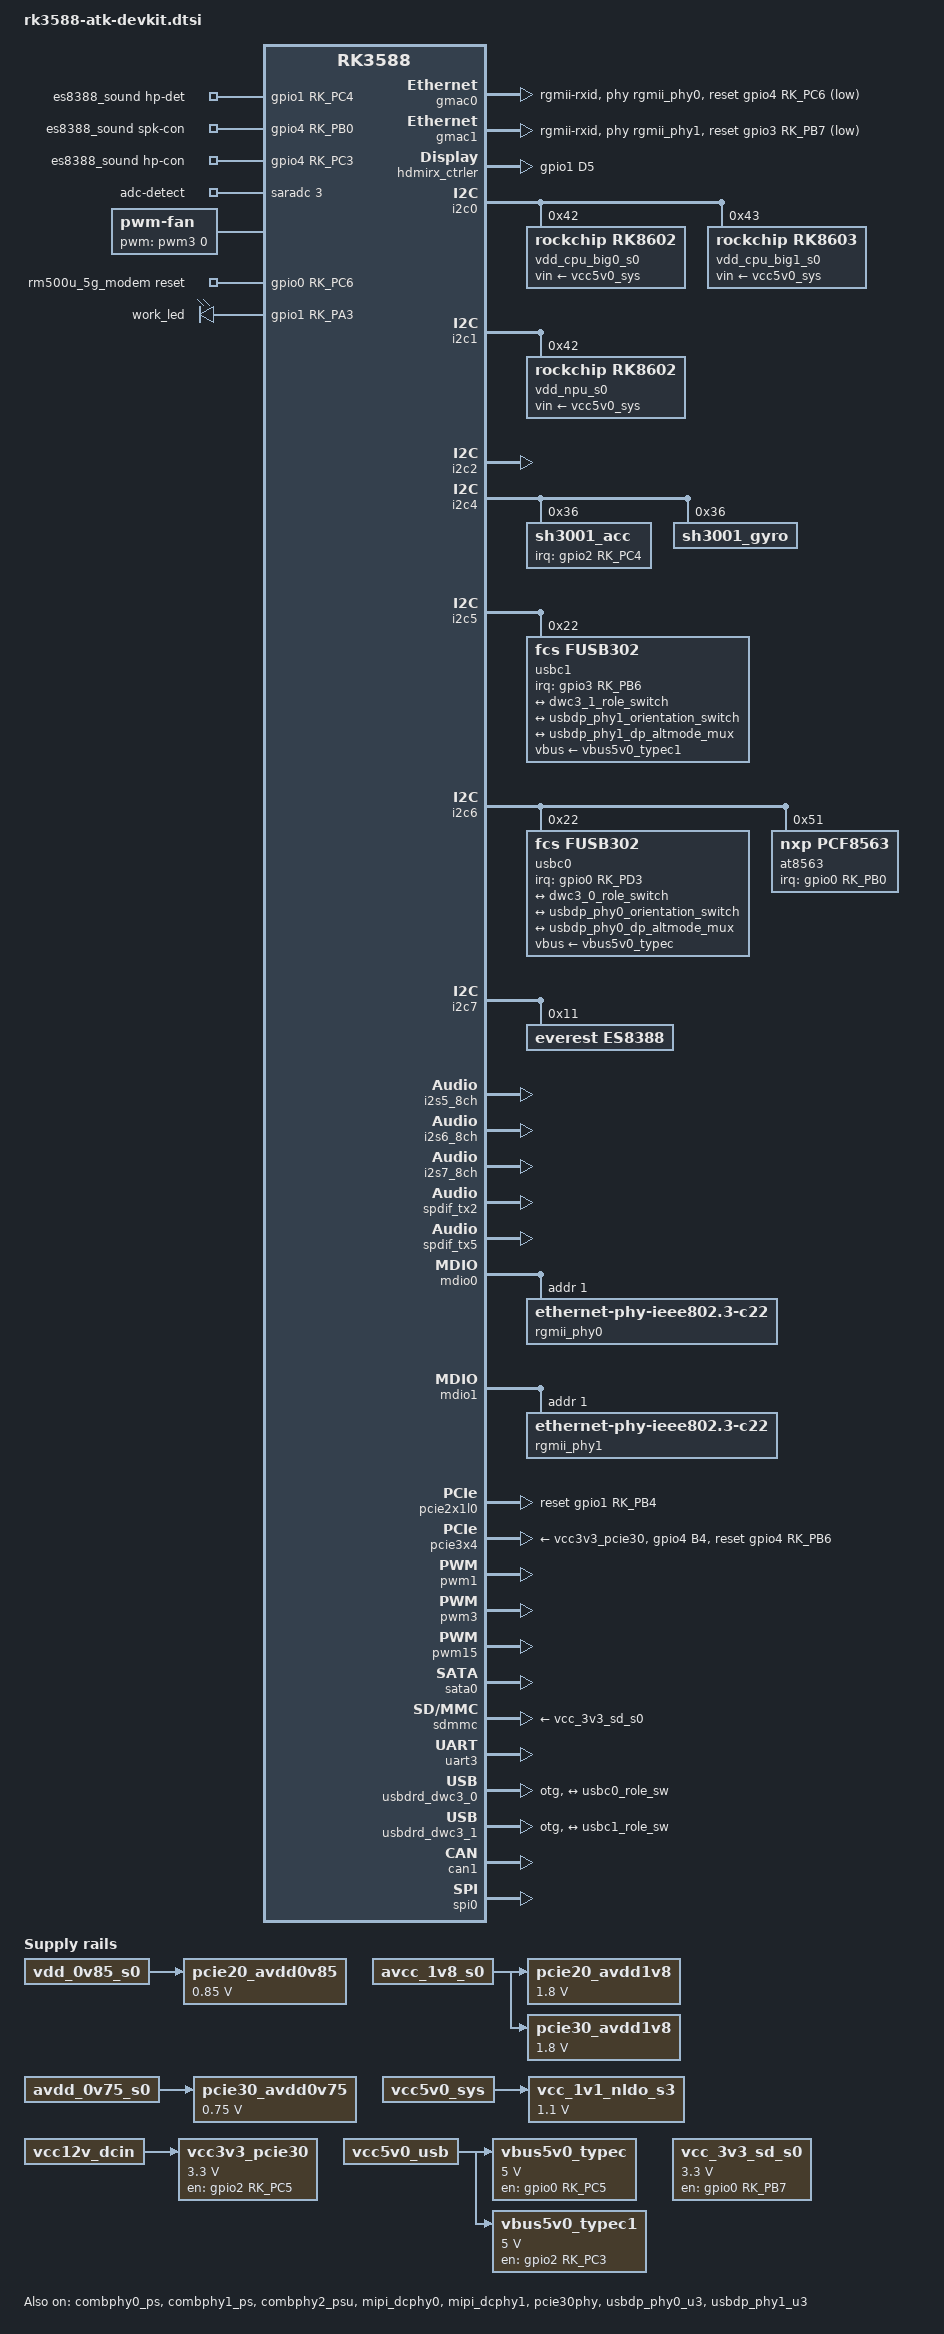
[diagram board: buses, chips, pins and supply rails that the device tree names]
// SPDX-License-Identifier: (GPL-2.0+ OR MIT)
/*
 * Copyright (c) 2021 Rockchip Electronics Co., Ltd.
 *
 */

#include "dt-bindings/usb/pd.h"
#include "rk3588.dtsi"
#include "rk3588-evb.dtsi"
#include "rk3588-rk806-single.dtsi"

/ {
	aliases {
		can0 = &can1;
		can1 = &mcp2515;
	};

	/* If hdmirx node is disabled, delete the reserved-memory node here. */
	reserved-memory {
		#address-cells = <2>;
		#size-cells = <2>;
		ranges;

		/* Reserve 128MB memory for hdmirx-controller@fdee0000 */
		cma {
			compatible = "shared-dma-pool";
			reusable;
			reg = <0x0 (256 * 0x100000) 0x0 (128 * 0x100000)>;
			linux,cma-default;
		};
	};

	es8388_sound: es8388-sound {
		status = "okay";
		compatible = "rockchip,multicodecs-card";
		rockchip,card-name = "rockchip-es8388";
		hp-det-gpio = <&gpio1 RK_PC4 GPIO_ACTIVE_HIGH>;
		io-channels = <&saradc 3>;
		io-channel-names = "adc-detect";
		keyup-threshold-microvolt = <1800000>;
		poll-interval = <100>;
		spk-con-gpio = <&gpio4 RK_PB0 GPIO_ACTIVE_HIGH>;
		hp-con-gpio = <&gpio4 RK_PC3 GPIO_ACTIVE_HIGH>;
		rockchip,format = "i2s";
		rockchip,mclk-fs = <256>;
		rockchip,cpu = <&i2s0_8ch>;
		rockchip,codec = <&es8388>;
		rockchip,audio-routing =
			"Headphone", "LOUT1",
			"Headphone", "ROUT1",
			"Speaker", "LOUT2",
			"Speaker", "ROUT2",
			"Headphone", "Headphone Power",
			"Headphone", "Headphone Power",
			"Speaker", "Speaker Power",
			"Speaker", "Speaker Power",
			"LINPUT1", "Main Mic",
			"LINPUT2", "Main Mic",
			"RINPUT1", "Headset Mic",
			"RINPUT2", "Headset Mic";
		pinctrl-names = "default";
		pinctrl-0 = <&hp_det>;
		play-pause-key {
			label = "playpause";
			linux,code = <KEY_PLAYPAUSE>;
			press-threshold-microvolt = <2000>;
		};
	};

	fan: pwm-fan {
		compatible = "pwm-fan";
		#cooling-cells = <2>;
		pwms = <&pwm3 0 50000 0>;
		cooling-levels = <
			0 50 100 120 150 170 180 200
			205 210 215 220 225 230 235 240
			245 250 251 252 253 254 255
		>;

		rockchip,temp-trips = <
			32000	1
			34000	2
			36000	3
			38000	4
			40000	5
			42000	6
			44000	7
			46000	8
			48000	9
			50000	10
			52000	11
			54000	12
			56000	13
			58000	14
			60000	15
			62000	16
			64000	17
			66000	18
			68000	19
			70000	20
		>;
	};

	hdmiin-sound {
		compatible = "rockchip,hdmi";
		rockchip,mclk-fs = <128>;
		rockchip,format = "i2s";
		rockchip,bitclock-master = <&hdmirx_ctrler>;
		rockchip,frame-master = <&hdmirx_ctrler>;
		rockchip,card-name = "rockchip,hdmiin";
		rockchip,cpu = <&i2s7_8ch>;
		rockchip,codec = <&hdmirx_ctrler 0>;
		rockchip,jack-det;
	};

	pcie20_avdd0v85: pcie20-avdd0v85 {
		compatible = "regulator-fixed";
		regulator-name = "pcie20_avdd0v85";
		regulator-boot-on;
		regulator-always-on;
		regulator-min-microvolt = <850000>;
		regulator-max-microvolt = <850000>;
		vin-supply = <&vdd_0v85_s0>;
	};

	pcie20_avdd1v8: pcie20-avdd1v8 {
		compatible = "regulator-fixed";
		regulator-name = "pcie20_avdd1v8";
		regulator-boot-on;
		regulator-always-on;
		regulator-min-microvolt = <1800000>;
		regulator-max-microvolt = <1800000>;
		vin-supply = <&avcc_1v8_s0>;
	};

	pcie30_avdd0v75: pcie30-avdd0v75 {
		compatible = "regulator-fixed";
		regulator-name = "pcie30_avdd0v75";
		regulator-boot-on;
		regulator-always-on;
		regulator-min-microvolt = <750000>;
		regulator-max-microvolt = <750000>;
		vin-supply = <&avdd_0v75_s0>;
	};

	pcie30_avdd1v8: pcie30-avdd1v8 {
		compatible = "regulator-fixed";
		regulator-name = "pcie30_avdd1v8";
		regulator-boot-on;
		regulator-always-on;
		regulator-min-microvolt = <1800000>;
		regulator-max-microvolt = <1800000>;
		vin-supply = <&avcc_1v8_s0>;
	};

	rk_headset: rk-headset {
		status = "disabled";
		compatible = "rockchip_headset";
		headset_gpio = <&gpio1 RK_PD5 GPIO_ACTIVE_LOW>;
		pinctrl-names = "default";
		pinctrl-0 = <&hp_det>;
		io-channels = <&saradc 3>;
	};


	vcc_1v1_nldo_s3: vcc-1v1-nldo-s3 {
		compatible = "regulator-fixed";
		regulator-name = "vcc_1v1_nldo_s3";
		regulator-always-on;
		regulator-boot-on;
		regulator-min-microvolt = <1100000>;
		regulator-max-microvolt = <1100000>;
		vin-supply = <&vcc5v0_sys>;
	};

	vcc3v3_pcie30: vcc3v3-pcie30 {
		compatible = "regulator-fixed";
		regulator-name = "vcc3v3_pcie30";
		regulator-min-microvolt = <3300000>;
		regulator-max-microvolt = <3300000>;
		enable-active-high;
		gpios = <&gpio2 RK_PC5 GPIO_ACTIVE_HIGH>;
		startup-delay-us = <5000>;
		vin-supply = <&vcc12v_dcin>;
	};

	vbus5v0_typec: vbus5v0-typec {
		compatible = "regulator-fixed";
		regulator-name = "vbus5v0_typec";
		regulator-min-microvolt = <5000000>;
		regulator-max-microvolt = <5000000>;
		enable-active-high;
		gpio = <&gpio0 RK_PC5 GPIO_ACTIVE_HIGH>;
		vin-supply = <&vcc5v0_usb>;
		pinctrl-names = "default";
		pinctrl-0 = <&typec5v_pwren>;
	};

	vbus5v0_typec1: vbus5v0-typec1 {
		compatible = "regulator-fixed";
		regulator-name = "vbus5v0_typec1";
		regulator-min-microvolt = <5000000>;
		regulator-max-microvolt = <5000000>;
		enable-active-high;
		gpio = <&gpio2 RK_PC3 GPIO_ACTIVE_HIGH>;
		vin-supply = <&vcc5v0_usb>;
		pinctrl-names = "default";
		pinctrl-0 = <&typec5v_pwren1>;
	};

	vcc_3v3_sd_s0: vcc-3v3-sd-s0-regulator {
		compatible = "regulator-fixed";
		gpio = <&gpio0 RK_PB7 GPIO_ACTIVE_HIGH>;
		pinctrl-names = "default";
		pinctrl-0 = <&sd_s0_pwr>;
		regulator-min-microvolt = <3300000>;
		regulator-max-microvolt = <3300000>;
		regulator-name = "vcc_3v3_sd_s0";
		enable-active-high;
	};

	wireless_bluetooth: wireless-bluetooth {
		compatible = "bluetooth-platdata";
		status = "okay";
	};

	wireless_wlan: wireless-wlan {
		compatible = "wlan-platdata";
		wifi_chip_type = "rtl8733bu";
		status = "okay";
		pinctrl-names = "default";
		pinctrl-0 = <&pcie_wifi_gpio>;
	};

	rm500u_5g_modem: rm500u-modem {
		compatible = "4g-modem-platdata";
		pinctrl-names = "default";
		pinctrl-0 = <&rm500u_5g_rst>;
		//4G,vbat-gpio
		//4G,power-gpio
		4G,reset-gpio = <&gpio0 RK_PC6 GPIO_ACTIVE_HIGH>;
		status = "okay";
	};

	mcp2515_clk: mcp2515-clk {
		compatible = "fixed-clock";
		#clock-cells = <0>;
		clock-frequency = <8000000>;
	};
};

&combphy0_ps {
	status = "okay";
};

&combphy1_ps {
	status = "okay";
};

&combphy2_psu {
	status = "okay";
};

&gmac0 {
	/* Use rgmii-rxid mode to disable rx delay inside Soc */
	phy-mode = "rgmii-rxid";
	clock_in_out = "output";

	snps,reset-gpio = <&gpio4 RK_PC6 GPIO_ACTIVE_LOW>;
	snps,reset-active-low;
	/* Reset time is 20ms, 100ms for rtl8211f */
	snps,reset-delays-us = <0 20000 100000>;

	pinctrl-names = "default";
	pinctrl-0 = <&gmac0_miim
		     &gmac0_tx_bus2
		     &gmac0_rx_bus2
		     &gmac0_rgmii_clk
		     &gmac0_rgmii_bus>;

	tx_delay = <0x43>;
	/* rx_delay = <0x3f>; */

	phy-handle = <&rgmii_phy0>;
	status = "okay";
};

&gmac1 {
	/* Use rgmii-rxid mode to disable rx delay inside Soc */
	phy-mode = "rgmii-rxid";
	clock_in_out = "output";

	snps,reset-gpio = <&gpio3 RK_PB7 GPIO_ACTIVE_LOW>;
	snps,reset-active-low;
	/* Reset time is 20ms, 100ms for rtl8211f */
	snps,reset-delays-us = <0 20000 100000>;

	pinctrl-names = "default";
	pinctrl-0 = <&gmac1_miim
		     &gmac1_tx_bus2
		     &gmac1_rx_bus2
		     &gmac1_rgmii_clk
		     &gmac1_rgmii_bus>;

	tx_delay = <0x43>;
	/* rx_delay = <0x3f>; */

	phy-handle = <&rgmii_phy1>;
	status = "okay";
};

/* Should work with at least 128MB cma reserved above. */
&hdmirx_ctrler {
	status = "okay";

	#sound-dai-cells = <1>;
	/* Effective level used to trigger HPD: 0-low, 1-high */
	hpd-trigger-level = <1>;
	hdmirx-det-gpios = <&gpio1 RK_PD5 GPIO_ACTIVE_LOW>;
	pinctrl-names = "default";
	pinctrl-0 = <&hdmim1_rx &hdmirx_det>;
};

&i2c0 {
	status = "okay";
	pinctrl-names = "default";
	pinctrl-0 = <&i2c0m2_xfer>;

	vdd_cpu_big0_s0: vdd_cpu_big0_mem_s0: rk8602@42 {
		compatible = "rockchip,rk8602";
		reg = <0x42>;
		vin-supply = <&vcc5v0_sys>;
		regulator-compatible = "rk860x-reg";
		regulator-name = "vdd_cpu_big0_s0";
		regulator-min-microvolt = <550000>;
		regulator-max-microvolt = <1050000>;
		regulator-ramp-delay = <2300>;
		rockchip,suspend-voltage-selector = <1>;
		regulator-boot-on;
		regulator-always-on;
		regulator-state-mem {
			regulator-off-in-suspend;
		};
	};

	vdd_cpu_big1_s0: vdd_cpu_big1_mem_s0: rk8603@43 {
		compatible = "rockchip,rk8603";
		reg = <0x43>;
		vin-supply = <&vcc5v0_sys>;
		regulator-compatible = "rk860x-reg";
		regulator-name = "vdd_cpu_big1_s0";
		regulator-min-microvolt = <550000>;
		regulator-max-microvolt = <1050000>;
		regulator-ramp-delay = <2300>;
		rockchip,suspend-voltage-selector = <1>;
		regulator-boot-on;
		regulator-always-on;
		regulator-state-mem {
			regulator-off-in-suspend;
		};
	};
};

&i2c1 {
	status = "okay";
	pinctrl-names = "default";
	pinctrl-0 = <&i2c1m2_xfer>;

	vdd_npu_s0: vdd_npu_mem_s0: rk8602@42 {
		compatible = "rockchip,rk8602";
		reg = <0x42>;
		vin-supply = <&vcc5v0_sys>;
		regulator-compatible = "rk860x-reg";
		regulator-name = "vdd_npu_s0";
		regulator-min-microvolt = <550000>;
		regulator-max-microvolt = <950000>;
		regulator-ramp-delay = <2300>;
		rockchip,suspend-voltage-selector = <1>;
		regulator-boot-on;
		regulator-always-on;
		regulator-state-mem {
			regulator-off-in-suspend;
		};
	};
};

&i2c2 {
	status = "okay";
	pinctrl-0 = <&i2c2m4_xfer>;
};

&i2c4 {
	status = "okay";
	pinctrl-0 = <&i2c4m1_xfer>;

	sh3001_acc@36 {
		compatible = "sh3001_acc";
		reg = <0x36>;
		type = <SENSOR_TYPE_ACCEL>;
		pinctrl-names = "default";
		pinctrl-0 = <&sh3001_irq_gpio>;
		irq-gpio = <&gpio2 RK_PC4 IRQ_TYPE_LEVEL_HIGH>;
		irq_enable = <0>;
		poll_delay_ms = <30>;
		layout = <2>;
		status = "okay";
	};

	sh3001_gyro@36 {
		compatible = "sh3001_gyro";
		reg = <0x36>;
		type = <SENSOR_TYPE_GYROSCOPE>;
		//pinctrl-names = "default";
		//pinctrl-0 = <&sh3001_irq_gpio>;
		//irq-gpio = <&gpio2 RK_PC4 IRQ_TYPE_LEVEL_HIGH>;
		irq_enable = <0>;       //Must be set to 0, disable interrupt
		poll_delay_ms = <30>;
		layout = <1>;
		status = "okay";
	};
};

&i2c5 {
	status = "okay";

	usbc1: fusb302@22 {
		compatible = "fcs,fusb302";
		reg = <0x22>;
		interrupt-parent = <&gpio3>;
		interrupts = <RK_PB6 IRQ_TYPE_LEVEL_LOW>;
		pinctrl-names = "default";
		pinctrl-0 = <&usbc1_int>;
		vbus-supply = <&vbus5v0_typec1>;
		status = "okay";

		ports {
			#address-cells = <1>;
			#size-cells = <0>;

			port@0 {
				reg = <0>;
				usbc1_role_sw: endpoint@0 {
					remote-endpoint = <&dwc3_1_role_switch>;
				};
			};
		};

		connector {
			compatible = "usb-c-connector";
			label = "USB-C";
			data-role = "dual";
			power-role = "dual";
			try-power-role = "sink";
			op-sink-microwatt = <1000000>;
			sink-pdos =
				<PDO_FIXED(5000, 1000, PDO_FIXED_USB_COMM)>;
			source-pdos =
				<PDO_FIXED(5000, 3000, PDO_FIXED_USB_COMM)>;

			altmodes {
				#address-cells = <1>;
				#size-cells = <0>;

				altmode@0 {
					reg = <0>;
					svid = <0xff01>;
					vdo = <0xffffffff>;
				};
			};

			ports {
				#address-cells = <1>;
				#size-cells = <0>;

				port@0 {
					reg = <0>;
					usbc1_orien_sw: endpoint {
						remote-endpoint = <&usbdp_phy1_orientation_switch>;
					};
				};

				port@1 {
					reg = <1>;
					dp1_altmode_mux: endpoint {
						remote-endpoint = <&usbdp_phy1_dp_altmode_mux>;
					};
				};
			};
		};
	};
};

&i2c6 {
	status = "okay";

	usbc0: fusb302@22 {
		compatible = "fcs,fusb302";
		reg = <0x22>;
		interrupt-parent = <&gpio0>;
		interrupts = <RK_PD3 IRQ_TYPE_LEVEL_LOW>;
		pinctrl-names = "default";
		pinctrl-0 = <&usbc0_int>;
		vbus-supply = <&vbus5v0_typec>;
		status = "okay";

		ports {
			#address-cells = <1>;
			#size-cells = <0>;

			port@0 {
				reg = <0>;
				usbc0_role_sw: endpoint@0 {
					remote-endpoint = <&dwc3_0_role_switch>;
				};
			};
		};

		usb_con: connector {
			compatible = "usb-c-connector";
			label = "USB-C";
			data-role = "dual";
			power-role = "dual";
			try-power-role = "sink";
			op-sink-microwatt = <1000000>;
			sink-pdos =
				<PDO_FIXED(5000, 1000, PDO_FIXED_USB_COMM)>;
			source-pdos =
				<PDO_FIXED(5000, 3000, PDO_FIXED_USB_COMM)>;

			altmodes {
				#address-cells = <1>;
				#size-cells = <0>;

				altmode@0 {
					reg = <0>;
					svid = <0xff01>;
					vdo = <0xffffffff>;
				};
			};

			ports {
				#address-cells = <1>;
				#size-cells = <0>;

				port@0 {
					reg = <0>;
					usbc0_orien_sw: endpoint {
						remote-endpoint = <&usbdp_phy0_orientation_switch>;
					};
				};

				port@1 {
					reg = <1>;
					dp_altmode_mux: endpoint {
						remote-endpoint = <&usbdp_phy0_dp_altmode_mux>;
					};
				};
			};
		};
	};

	at8563: rtc@51 {
		compatible = "nxp,pcf8563";
		reg = <0x51>;
		pinctrl-names = "default";
		pinctrl-0 = <&at8563_int>;
		interrupt-parent = <&gpio0>;
		interrupts = <RK_PB0 IRQ_TYPE_LEVEL_LOW>;
		#clock-cells = <0>;
	};
};

&i2c7 {
	status = "okay";
	es8388: es8388@11 {
		status = "okay";
		#sound-dai-cells = <0>;
		compatible = "everest,es8388", "everest,es8323";
		reg = <0x11>;
		clocks = <&mclkout_i2s0>;
		clock-names = "mclk";
		assigned-clocks = <&mclkout_i2s0>;
		assigned-clock-rates = <12288000>;
		pinctrl-names = "default";
		pinctrl-0 = <&i2s0_mclk>;
	};
};

&i2s5_8ch {
	status = "okay";
};

&i2s6_8ch {
	status = "okay";
};

&i2s7_8ch {
	status = "okay";
};

&spdif_tx2 {
	status = "okay";
};

&spdif_tx5 {
	status = "okay";
};

&mdio0 {
	rgmii_phy0: phy@1 {
		compatible = "ethernet-phy-ieee802.3-c22";
		reg = <0x1>;
	};
};

&mdio1 {
	rgmii_phy1: phy@1 {
		compatible = "ethernet-phy-ieee802.3-c22";
		reg = <0x1>;
	};
};

&mipi_dcphy0 {
	status = "okay";
};

&mipi_dcphy1 {
	status = "okay";
};

&pcie2x1l0 {
	reset-gpios = <&gpio1 RK_PB4 GPIO_ACTIVE_HIGH>;
	status = "okay";
};

&pcie30phy {
	rockchip,pcie30-phymode = <PHY_MODE_PCIE_AGGREGATION>;
	status = "okay";
};

&pcie3x4 {
	reset-gpios = <&gpio4 RK_PB6 GPIO_ACTIVE_HIGH>;
	vpcie3v3-supply = <&vcc3v3_pcie30>;
	pinctrl-names = "default";
	pinctrl-0 = <&pcie30x4_clkreqn_m1>;
	status = "okay";
};

&pinctrl {
	hdmi {
		hdmirx_det: hdmirx-det {
			rockchip,pins = <1 RK_PD5 RK_FUNC_GPIO &pcfg_pull_up>;
		};
	};

	headphone {
		hp_det: hp-det {
			rockchip,pins =
				<1 RK_PC4 RK_FUNC_GPIO &pcfg_pull_none>,
				<4 RK_PB0 RK_FUNC_GPIO &pcfg_pull_down>,
				<4 RK_PC3 RK_FUNC_GPIO &pcfg_pull_down>;
		};
	};

	at8563 {
		at8563_int: at8563-int {
			rockchip,pins = <0 RK_PB0 RK_FUNC_GPIO &pcfg_pull_up>;
		};
	};

	sdmmc {
		sd_s0_pwr: sd-s0-pwr {
			rockchip,pins = <0 RK_PB7 RK_FUNC_GPIO &pcfg_pull_up>;
		};
	};

	/*
	wireless-bluetooth {
		uart9_gpios: uart9-gpios {
			rockchip,pins = <4 RK_PC4 RK_FUNC_GPIO &pcfg_pull_none>;
		};

		bt_reset_gpio: bt-reset-gpio {
			rockchip,pins = <0 RK_PC6 RK_FUNC_GPIO &pcfg_pull_none>;
		};

		bt_wake_gpio: bt-wake-gpio {
			rockchip,pins = <0 RK_PC5 RK_FUNC_GPIO &pcfg_pull_none>;
		};

		bt_irq_gpio: bt-irq-gpio {
			rockchip,pins = <0 RK_PA0 RK_FUNC_GPIO &pcfg_pull_none>;
		};
	};

	wireless-wlan {
		wifi_host_wake_irq: wifi-host-wake-irq {
			rockchip,pins = <0 RK_PB2 RK_FUNC_GPIO &pcfg_pull_down>;
		};
	};
	*/

	wireless-wlan {
		pcie_wifi_gpio: pcie-wifi-gpio {
			rockchip,pins =
				<0 RK_PA0 RK_FUNC_GPIO &pcfg_pull_up>,
				<0 RK_PB2 RK_FUNC_GPIO &pcfg_pull_up>;
		};
	};

	leds {
		work_leds_gpio: work-leds-gpio {
			rockchip,pins = <1 RK_PA3 RK_FUNC_GPIO &pcfg_pull_down>;
		};
	};

	pcie {
		pcie30x4_clkreqn_m1: pcie30x4-clkreqn-m1 {
			rockchip,pins = <4 RK_PB4 RK_FUNC_GPIO &pcfg_output_low>;
		};
	};

	usb-typec {
		usbc0_int: usbc0-int {
			rockchip,pins = <0 RK_PD3 RK_FUNC_GPIO &pcfg_pull_up>;
		};

		typec5v_pwren: typec5v-pwren {
			rockchip,pins = <0 RK_PC5 RK_FUNC_GPIO &pcfg_pull_none>;
		};

		usbc1_int: usbc1-int {
			rockchip,pins = <3 RK_PB6 RK_FUNC_GPIO &pcfg_pull_up>;
		};

		typec5v_pwren1: typec5v-pwren1 {
			rockchip,pins = <2 RK_PC3 RK_FUNC_GPIO &pcfg_pull_none>;
		};
	};

	sh3001 {
		sh3001_irq_gpio: sh3001-irq-gpio {
			rockchip,pins = <2 RK_PC4 RK_FUNC_GPIO &pcfg_pull_none>;
		};
	};

	5g-modem {
		rm500u_5g_rst: rm500u-5g-rst {
			rockchip,pins = <0 RK_PC6 RK_FUNC_GPIO &pcfg_pull_down>;
		};
	};
};

&pwm1 {
	status = "okay";
};

&pwm3 {
	pinctrl-0 = <&pwm3m1_pins>;
	status = "okay";
};

&pwm15 {
	pinctrl-0 = <&pwm15m2_pins>;
	status = "okay";
};

&sata0 {
	status = "okay";
};

&sdmmc {
	status = "okay";
	vmmc-supply = <&vcc_3v3_sd_s0>;
};

&uart3 {
	pinctrl-names = "default";
	pinctrl-0 = <&uart3m2_xfer>;
	status = "okay";
};

&u2phy0_otg {
	rockchip,typec-vbus-det;
};

&u2phy1_otg {
	rockchip,typec-vbus-det;
};

&u2phy2_host {
	phy-supply = <&vcc5v0_usb>;
};

&u2phy3_host {
	phy-supply = <&vcc5v0_usb>;
};

&usbdp_phy0 {
	orientation-switch;
	svid = <0xff01>;
	sbu1-dc-gpios = <&gpio4 RK_PA0 GPIO_ACTIVE_HIGH>;
	sbu2-dc-gpios = <&gpio4 RK_PA1 GPIO_ACTIVE_HIGH>;

	port {
		#address-cells = <1>;
		#size-cells = <0>;
		usbdp_phy0_orientation_switch: endpoint@0 {
			reg = <0>;
			remote-endpoint = <&usbc0_orien_sw>;
		};

		usbdp_phy0_dp_altmode_mux: endpoint@1 {
			reg = <1>;
			remote-endpoint = <&dp_altmode_mux>;
		};
	};
};

&usbdp_phy0_u3 {
	status = "okay";
};

&usbdp_phy1 {
	orientation-switch;
	svid = <0xff01>;
	sbu1-dc-gpios = <&gpio4 RK_PA2 GPIO_ACTIVE_HIGH>;
	sbu2-dc-gpios = <&gpio4 RK_PA7 GPIO_ACTIVE_HIGH>;

	port {
		#address-cells = <1>;
		#size-cells = <0>;
		usbdp_phy1_orientation_switch: endpoint@0 {
			reg = <0>;
			remote-endpoint = <&usbc1_orien_sw>;
		};

		usbdp_phy1_dp_altmode_mux: endpoint@1 {
			reg = <1>;
			remote-endpoint = <&dp1_altmode_mux>;
		};
	};
};

&usbdp_phy1_u3 {
	status = "okay";
};

&usbdrd_dwc3_0 {
	dr_mode = "otg";
	usb-role-switch;
	port {
		#address-cells = <1>;
		#size-cells = <0>;
		dwc3_0_role_switch: endpoint@0 {
			reg = <0>;
			remote-endpoint = <&usbc0_role_sw>;
		};
	};
};

&usbdrd_dwc3_1 {
	dr_mode = "otg";
	usb-role-switch;
	port {
		#address-cells = <1>;
		#size-cells = <0>;
		dwc3_1_role_switch: endpoint@0 {
			reg = <0>;
			remote-endpoint = <&usbc1_role_sw>;
		};
	};
};

&work_led {
	gpios = <&gpio1 RK_PA3 GPIO_ACTIVE_HIGH>;
	pinctrl-names = "default";
	pinctrl-0 = <&work_leds_gpio>;
};

&can1 {
	status = "okay";
	pinctrl-names = "default";
	pinctrl-0 = <&can1m1_pins>;
	assigned-clocks = <&cru CLK_CAN1>;
	assigned-clock-rates = <200000000>;
};

&spi0 {
	status = "okay";
	pinctrl-names = "default";
	pinctrl-0 = <&spi0m2_cs0 &spi0m2_pins>;
	max-frequency = <2000000>;

	mcp2515: can@0 {
		compatible = "microchip,mcp2515";
		reg = <0>;
		spi-max-frequency = <2000000>;
		clocks = <&mcp2515_clk>;
		interrupt-parent = <&gpio1>;
		interrupts = <RK_PB5 IRQ_TYPE_EDGE_FALLING>;
		status = "disabled";
	};
};

&vp2 {
	assigned-clocks = <&cru DCLK_VOP2_SRC>;
	assigned-clock-parents = <&cru PLL_GPLL>;
};

&vp3 {
	assigned-clocks = <&cru DCLK_VOP3>;
	assigned-clock-parents = <&cru PLL_V0PLL>;
};
